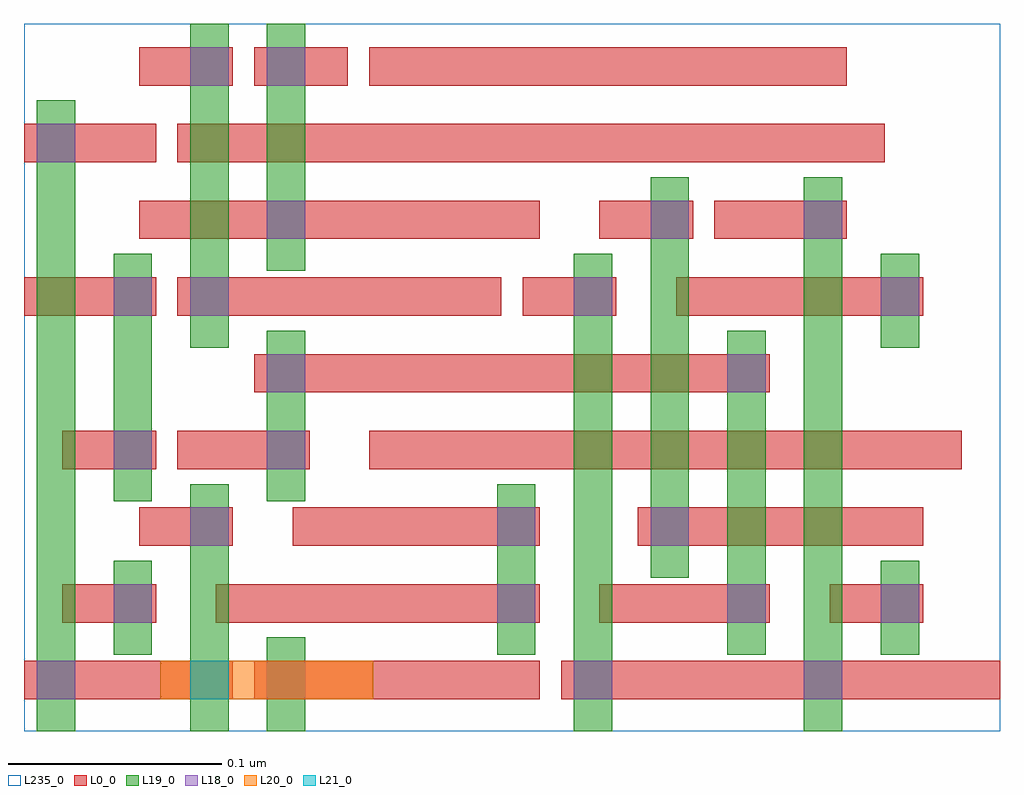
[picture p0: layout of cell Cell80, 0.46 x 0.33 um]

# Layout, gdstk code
import gdstk
lib = gdstk.Library(unit=1e-6, precision=2.5e-10)
def R(c, l, rs):  # rectangles x0, y0, x1, y1
    for r in rs: c.add(gdstk.rectangle(r[:2], r[2:], *l))
def A(c, l, x, y, w, h, nx, ny, dx, dy):  # array of equal rectangles
    R(c, l, [(x+i*dx, y+j*dy, x+i*dx+w, y+j*dy+h) for i in range(nx) for j in range(ny)])
L0_0 = (0, 0)
L18_0 = (18, 0)
L19_0 = (19, 0)
L20_0 = (20, 0)
L21_0 = (21, 0)
L235_0 = (235, 0)

cell80 = lib.new_cell('Cell80')
R(cell80, L0_0, [(0.004,-0.001,0.102,0.017), (0.112,-0.001,0.246,0.017), (0.256,-0.001,0.462,0.017), (0.022,0.035,0.066,0.053), (0.094,0.035,0.246,0.053), (0.274,0.035,0.354,0.053), (0.382,0.035,0.426,0.053), (0.058,0.071,0.102,0.089), (0.13,0.071,0.246,0.089), (0.292,0.071,0.426,0.089), (0.022,0.107,0.066,0.125), (0.076,0.107,0.138,0.125), (0.166,0.107,0.444,0.125), (0.112,0.143,0.354,0.161), (0.004,0.179,0.066,0.197), (0.076,0.179,0.228,0.197), (0.238,0.179,0.282,0.197), (0.31,0.179,0.426,0.197), (0.058,0.215,0.246,0.233), (0.274,0.215,0.318,0.233), (0.328,0.215,0.39,0.233), (0.004,0.251,0.066,0.269), (0.076,0.251,0.408,0.269), (0.058,0.287,0.102,0.305), (0.112,0.287,0.156,0.305), (0.166,0.287,0.39,0.305)])
A(cell80, L18_0, 0.046, 0.035, 0.018, 0.018, 1, 3, 0, 0.072)
A(cell80, L18_0, 0.082, 0.071, 0.018, 0.018, 1, 3, 0, 0.108)
A(cell80, L18_0, 0.118, 0.143, 0.018, 0.018, 1, 3, 0, 0.072)
R(cell80, L18_0, [(0.01,-0.001,0.028,0.017), (0.118,-0.001,0.136,0.017), (0.262,-0.001,0.28,0.017), (0.37,-0.001,0.388,0.017), (0.226,0.035,0.244,0.053), (0.334,0.035,0.352,0.053), (0.406,0.035,0.424,0.053), (0.226,0.071,0.244,0.089), (0.298,0.071,0.316,0.089), (0.118,0.107,0.136,0.125), (0.334,0.143,0.352,0.161), (0.262,0.179,0.28,0.197), (0.406,0.179,0.424,0.197), (0.298,0.215,0.316,0.233), (0.37,0.215,0.388,0.233), (0.01,0.251,0.028,0.269)])
R(cell80, L19_0, [(0.01,-0.016,0.028,0.28), (0.082,-0.016,0.1,0.1), (0.118,-0.016,0.136,0.028), (0.262,-0.016,0.28,0.208), (0.37,-0.016,0.388,0.244), (0.046,0.02,0.064,0.064), (0.226,0.02,0.244,0.1), (0.334,0.02,0.352,0.172), (0.406,0.02,0.424,0.064), (0.298,0.056,0.316,0.244), (0.046,0.092,0.064,0.208), (0.118,0.092,0.136,0.172), (0.082,0.164,0.1,0.316), (0.406,0.164,0.424,0.208), (0.118,0.2,0.136,0.316)])
R(cell80, L20_0, [(0.068,-0.001,0.168,0.017)])
R(cell80, L21_0, [(0.082,-0.001,0.1,0.017)])
R(cell80, L235_0, [(0.004,-0.016,0.462,0.316)])

lib.write_gds('Cell80.gds')
